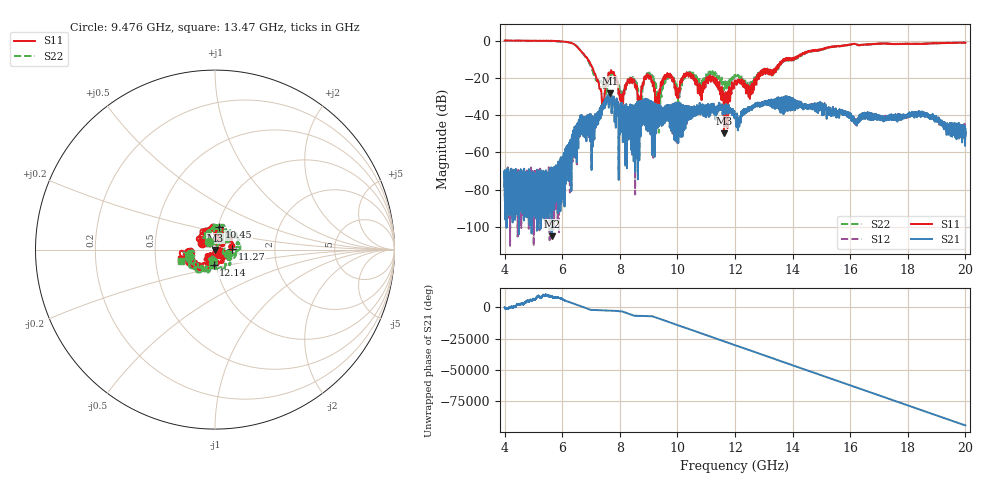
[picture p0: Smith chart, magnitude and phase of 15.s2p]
[Version] 2.0
! Rohde & Schwarz Vector Network Analyzer
! Rohde-Schwarz,ZNL20-2Port,1323001220200009,1.71.1.10-23.02.1.238
! Port Assignments:
! Nominal Port -> Actual Test Port
!  1 -> 1
!  2 -> 2
! Created: GMT+2 2025-01-16 20:25:42
# Hz S RI R 50
[Number of Ports] 2
[Two-Port Data Order] 21_12
! freq[Hz]  S11[Re]  S11[Im]  S21[Re]  S21[Im]  S12[Re]  S12[Im]  S22[Re]  S22[Im]
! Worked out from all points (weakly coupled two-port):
!   16001 points, 4 GHz to 20 GHz, reference 50 ohm
!   highest |S21| = -28.35 dB at 7.648 GHz (marker M1); lowest = -105.1 dB at 5.637 GHz (marker M2)
!   lowest |S11| = -49.8 dB at 11.62 GHz (marker M3), VSWR 1.01, Z = 50.2 - j0.274 ohm
!   |S11| at or under -10 dB: 6.886 GHz to 13.7 GHz (6.816 GHz wide, 66.2 % of centre); 13.71513 GHz to 13.74361 GHz (28.48 MHz wide, 0.207 % of centre); 13.94335 GHz to 13.96731 GHz (23.95 MHz wide, 0.172 % of centre) (the widest 3 of 9)
!   |S22| runs from -49.4 to 0.0 dB; largest |S21 - S12| = 0.0026
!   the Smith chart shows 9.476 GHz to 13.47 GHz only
!   S11 on the Smith chart (normalised r, x): 9.476 GHz: 0.86, +0.06; 10.45 GHz: 1.01, +0.26; 11.27 GHz: 1.21, +0.01; 12.14 GHz: 0.97, -0.17; 13.47 GHz: 0.67, -0.08
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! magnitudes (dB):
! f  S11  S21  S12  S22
! 4 GHz  0.0  -79.8  -77.7  -0.2
! 5.637 GHz  -0.2  -105.1  -77.0  -0.3
! 6.667 GHz  -6.0  -41.0  -40.6  -6.0
! 7.407 GHz  -31.8  -34.4  -34.4  -22.6
! 7.648 GHz  -17.4  -28.4  -28.4  -19.8
! 8.044 GHz  -38.5  -36.0  -35.9  -30.7
! 8.429 GHz  -22.8  -40.9  -41.1  -21.7
! 8.718 GHz  -34.5  -40.5  -40.4  -38.3
! 9.006 GHz  -20.4  -34.6  -34.6  -18.8
! 9.334 GHz  -28.2  -34.5  -34.4  -31.9
! 9.476 GHz  -21.7  -36.2  -36.2  -25.3
! 9.764 GHz  -19.6  -35.1  -35.0  -19.8
! 10.01 GHz  -26.0  -33.6  -33.5  -27.1
! 10.45 GHz  -17.9  -37.0  -36.9  -17.0
! 11.27 GHz  -20.3  -35.2  -35.1  -17.2
! 11.62 GHz  -49.8  -35.5  -35.3  -24.1
! 12 GHz  -21.9  -41.7  -41.8  -19.0
! 12.14 GHz  -21.2  -44.6  -44.6  -19.8
! 13.47 GHz  -13.9  -31.9  -31.8  -13.9
! 14.67 GHz  -5.5  -34.6  -34.5  -5.8
! 17.33 GHz  -1.8  -41.1  -40.5  -1.8
! 20 GHz  -1.2  -49.4  -48.0  -1.1
